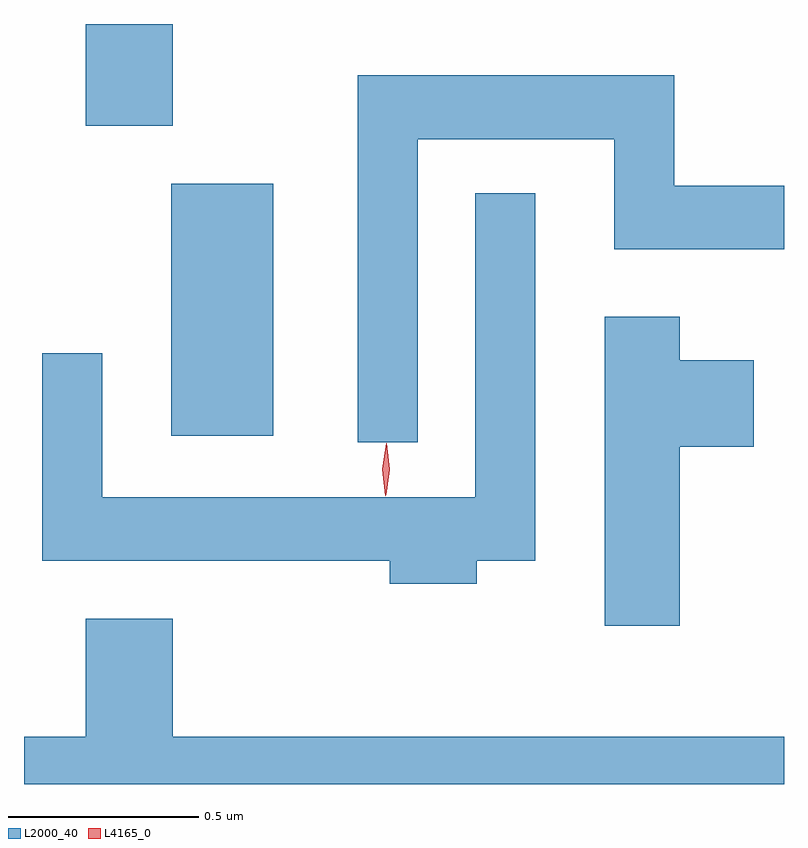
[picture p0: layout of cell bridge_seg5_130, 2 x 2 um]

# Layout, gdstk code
import gdstk
lib = gdstk.Library(unit=1e-6, precision=1e-09)
def R(c, l, rs):  # rectangles x0, y0, x1, y1
    for r in rs: c.add(gdstk.rectangle(r[:2], r[2:], *l))
def P(c, l, *ps):  # polygons
    for p in ps: c.add(gdstk.Polygon(p, *l))
L2000_40 = (2000, 40)
L4165_0 = (4165, 0)

bridge_seg5_130 = lib.new_cell('bridge_seg5_130')
R(bridge_seg5_130, L2000_40, [(1192.806,1420.116,1193.074,1420.779), (1192.581,1420.931,1192.809,1421.199)])
P(bridge_seg5_130, L2000_40, [(1193.454,1420.896),(1193.971,1420.896),(1193.971,1420.606),(1194.418,1420.606),(1194.418,1420.774),(1194.129,1420.774),(1194.129,1421.064),(1193.296,1421.064),(1193.296,1420.098),(1193.454,1420.098)],
  [(1193.609,1419.786),(1193.764,1419.786),(1193.764,1420.753),(1193.606,1420.753),(1193.606,1419.954),(1192.624,1419.954),(1192.624,1420.333),(1192.466,1420.333),(1192.466,1419.786),(1193.381,1419.786),(1193.381,1419.726),(1193.609,1419.726)],
  [(1194.144,1420.086),(1194.339,1420.086),(1194.339,1420.314),(1194.144,1420.314),(1194.144,1420.429),(1193.946,1420.429),(1193.946,1419.616),(1194.144,1419.616)],
  [(1194.418,1419.324),(1192.809,1419.324),(1192.809,1419.634),(1192.581,1419.634),(1192.581,1419.324),(1192.418,1419.324),(1192.418,1419.199),(1194.418,1419.199)])
P(bridge_seg5_130, L4165_0, [(1193.37,1419.96),(1193.37,1419.96),(1193.361,1420.026),(1193.371,1420.092),(1193.372,1420.093),(1193.372,1420.092),(1193.381,1420.026),(1193.371,1419.96)],
  [(1193.37,1419.957),(1193.369,1419.958),(1193.361,1420.027),(1193.371,1420.096),(1193.372,1420.096),(1193.372,1420.096),(1193.381,1420.027),(1193.37,1419.958)])

lib.write_gds('bridge_seg5_130.gds')
